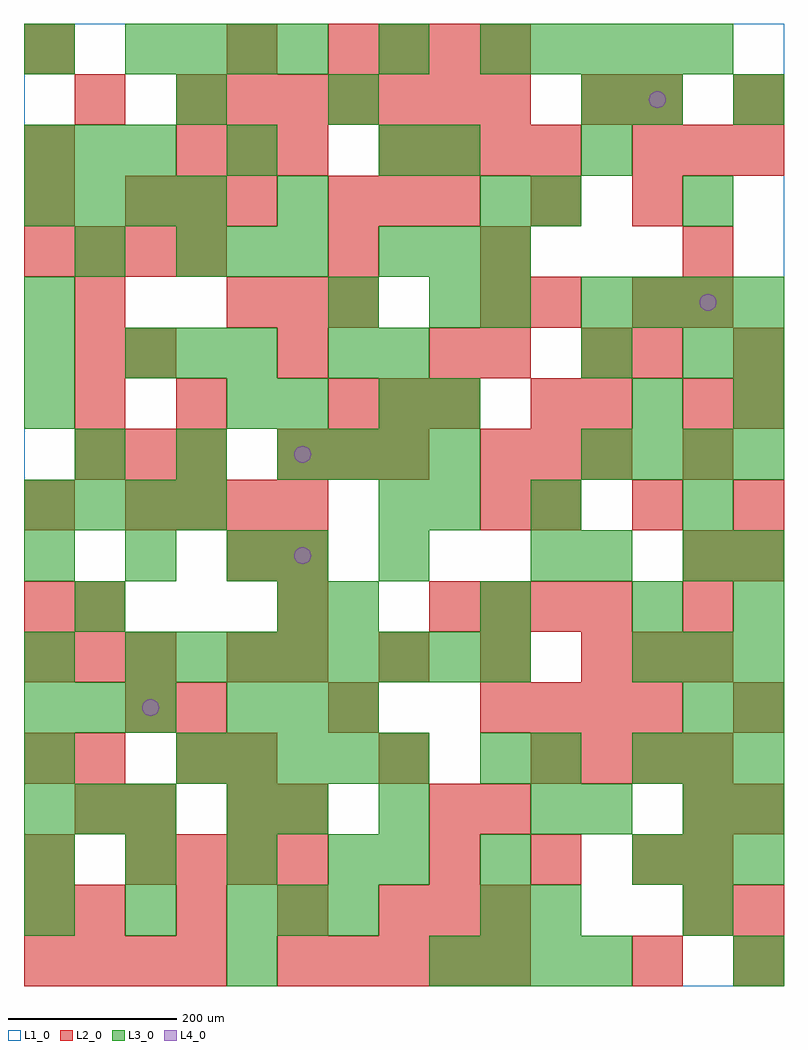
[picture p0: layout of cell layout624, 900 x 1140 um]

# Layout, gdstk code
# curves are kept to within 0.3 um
import gdstk
lib = gdstk.Library(unit=1e-6, precision=1e-09)
def R(c, l, rs):  # rectangles x0, y0, x1, y1
    for r in rs: c.add(gdstk.rectangle(r[:2], r[2:], *l))
def A(c, l, x, y, w, h, nx, ny, dx, dy):  # array of equal rectangles
    R(c, l, [(x+i*dx, y+j*dy, x+i*dx+w, y+j*dy+h) for i in range(nx) for j in range(ny)])
def P(c, l, *ps):  # polygons
    for p in ps: c.add(gdstk.Polygon(p, *l))
L1_0 = (1, 0)
L2_0 = (2, 0)
L3_0 = (3, 0)
L4_0 = (4, 0)

layout624 = lib.new_cell('layout624')
R(layout624, L1_0, [(0,0,900,1140)])
A(layout624, L2_0, 0, 0, 60, 60, 4, 2, 60, 840)
A(layout624, L2_0, 300, 0, 60, 60, 5, 1, 60, 0)
A(layout624, L2_0, 720, 0, 60, 60, 1, 3, 0, 360)
A(layout624, L2_0, 60, 60, 60, 60, 4, 1, 120, 0)
A(layout624, L2_0, 780, 60, 60, 60, 1, 3, 0, 60)
A(layout624, L2_0, 840, 60, 60, 60, 1, 3, 0, 120)
A(layout624, L2_0, 120, 120, 60, 60, 4, 2, 60, 420)
A(layout624, L2_0, 480, 120, 60, 60, 3, 1, 120, 0)
A(layout624, L2_0, 240, 240, 60, 60, 3, 1, 180, 0)
A(layout624, L2_0, 660, 240, 60, 60, 3, 1, 60, 0)
A(layout624, L2_0, 180, 300, 60, 60, 3, 1, 180, 0)
A(layout624, L2_0, 600, 300, 60, 60, 3, 1, 60, 0)
A(layout624, L2_0, 0, 360, 60, 60, 3, 1, 60, 0)
A(layout624, L2_0, 300, 360, 60, 60, 4, 1, 120, 0)
A(layout624, L2_0, 780, 360, 60, 60, 1, 3, 0, 60)
A(layout624, L2_0, 480, 420, 60, 60, 4, 1, 60, 0)
A(layout624, L2_0, 600, 540, 60, 60, 3, 1, 120, 0)
A(layout624, L2_0, 60, 600, 60, 60, 3, 1, 60, 0)
A(layout624, L2_0, 300, 600, 60, 60, 3, 1, 60, 0)
A(layout624, L2_0, 540, 600, 60, 60, 3, 1, 60, 0)
A(layout624, L2_0, 60, 660, 60, 60, 1, 3, 0, 60)
A(layout624, L2_0, 360, 660, 60, 60, 3, 2, 60, 240)
A(layout624, L2_0, 600, 660, 60, 60, 1, 3, 0, 120)
A(layout624, L2_0, 120, 720, 60, 60, 3, 1, 180, 0)
A(layout624, L2_0, 540, 720, 60, 60, 1, 3, 0, 60)
A(layout624, L2_0, 240, 780, 60, 60, 3, 1, 60, 0)
A(layout624, L2_0, 720, 780, 60, 60, 1, 3, 0, 120)
A(layout624, L2_0, 120, 900, 60, 60, 3, 1, 60, 0)
A(layout624, L2_0, 180, 960, 60, 60, 3, 1, 60, 0)
A(layout624, L2_0, 420, 960, 60, 60, 4, 1, 60, 0)
A(layout624, L2_0, 720, 960, 60, 60, 3, 1, 60, 0)
A(layout624, L2_0, 180, 1020, 60, 60, 7, 1, 60, 0)
A(layout624, L2_0, 360, 1080, 60, 60, 4, 1, 60, 0)
R(layout624, L2_0, [(840,0,900,60), (0,60,60,120), (480,60,540,120), (540,60,600,120), (0,120,60,180), (60,180,120,240), (120,180,180,240), (240,180,300,240), (300,180,360,240), (480,180,540,240), (540,180,600,240), (0,240,60,300), (60,240,120,300), (180,240,240,300), (120,300,180,360), (240,360,300,420), (0,420,60,480), (60,420,120,480), (300,420,360,480), (240,480,300,540), (300,480,360,540), (840,480,900,540), (0,540,60,600), (540,540,600,600), (780,600,840,660), (180,660,240,720), (660,660,720,720), (780,660,840,720), (840,660,900,720), (660,720,720,780), (840,720,900,780), (780,780,840,840), (360,840,420,900), (780,840,840,900), (0,900,60,960), (0,960,60,1020), (60,1020,120,1080), (660,1020,720,1080), (840,1020,900,1080), (0,1080,60,1140), (240,1080,300,1140)])
A(layout624, L3_0, 480, 0, 60, 60, 4, 1, 60, 0)
A(layout624, L3_0, 0, 60, 60, 60, 3, 2, 120, 420)
A(layout624, L3_0, 780, 60, 60, 60, 1, 3, 0, 120)
A(layout624, L3_0, 0, 120, 60, 60, 4, 1, 120, 0)
A(layout624, L3_0, 720, 120, 60, 60, 3, 3, 60, 120)
A(layout624, L3_0, 0, 180, 60, 60, 3, 2, 60, 120)
A(layout624, L3_0, 840, 180, 60, 60, 1, 3, 0, 120)
A(layout624, L3_0, 180, 240, 60, 60, 5, 1, 60, 0)
A(layout624, L3_0, 240, 300, 60, 60, 3, 1, 60, 0)
A(layout624, L3_0, 120, 360, 60, 60, 8, 1, 60, 0)
A(layout624, L3_0, 360, 420, 60, 60, 3, 1, 180, 0)
A(layout624, L3_0, 660, 480, 60, 60, 1, 3, 0, 240)
A(layout624, L3_0, 0, 540, 60, 60, 4, 2, 60, 360)
A(layout624, L3_0, 480, 540, 60, 60, 1, 3, 0, 120)
A(layout624, L3_0, 780, 540, 60, 60, 1, 3, 0, 180)
A(layout624, L3_0, 60, 600, 60, 60, 3, 1, 120, 0)
A(layout624, L3_0, 360, 600, 60, 60, 3, 1, 60, 0)
A(layout624, L3_0, 660, 600, 60, 60, 4, 2, 60, 180)
A(layout624, L3_0, 0, 660, 60, 60, 1, 3, 0, 60)
A(layout624, L3_0, 120, 720, 60, 60, 3, 1, 60, 0)
A(layout624, L3_0, 180, 840, 60, 60, 3, 1, 60, 0)
A(layout624, L3_0, 420, 840, 60, 60, 3, 1, 60, 0)
A(layout624, L3_0, 0, 960, 60, 60, 3, 1, 60, 0)
A(layout624, L3_0, 120, 1080, 60, 60, 4, 1, 60, 0)
A(layout624, L3_0, 540, 1080, 60, 60, 5, 1, 60, 0)
R(layout624, L3_0, [(240,0,300,60), (840,0,900,60), (300,60,360,120), (360,60,420,120), (540,60,600,120), (600,60,660,120), (420,120,480,180), (540,120,600,180), (240,180,300,240), (300,180,360,240), (420,180,480,240), (600,180,660,240), (660,180,720,240), (0,240,60,300), (540,240,600,300), (600,240,660,300), (0,360,60,420), (60,420,120,480), (300,420,360,480), (300,480,360,540), (420,480,480,540), (600,480,660,540), (780,480,840,540), (840,480,900,540), (420,540,480,600), (600,540,660,600), (240,660,300,720), (300,660,360,720), (420,660,480,720), (720,660,780,720), (840,660,900,720), (360,720,420,780), (420,720,480,780), (840,720,900,780), (360,780,420,840), (540,780,600,840), (60,840,120,900), (300,900,360,960), (540,900,600,960), (600,900,660,960), (240,960,300,1020), (420,960,480,1020), (480,960,540,1020), (180,1020,240,1080), (360,1020,420,1080), (660,1020,720,1080), (720,1020,780,1080), (840,1020,900,1080), (0,1080,60,1140), (420,1080,480,1140)])
P(layout624, L4_0, [(160,330),(159.239,333.827),(157.071,337.071),(153.827,339.239),(150,340),(146.173,339.239),(142.929,337.071),(140.761,333.827),(140,330),(140.761,326.173),(142.929,322.929),(146.173,320.761),(150,320),(153.827,320.761),(157.071,322.929),(159.239,326.173)],
  [(340,510),(339.239,513.827),(337.071,517.071),(333.827,519.239),(330,520),(326.173,519.239),(322.929,517.071),(320.761,513.827),(320,510),(320.761,506.173),(322.929,502.929),(326.173,500.761),(330,500),(333.827,500.761),(337.071,502.929),(339.239,506.173)],
  [(340,630),(339.239,633.827),(337.071,637.071),(333.827,639.239),(330,640),(326.173,639.239),(322.929,637.071),(320.761,633.827),(320,630),(320.761,626.173),(322.929,622.929),(326.173,620.761),(330,620),(333.827,620.761),(337.071,622.929),(339.239,626.173)],
  [(760,1050),(759.239,1053.827),(757.071,1057.071),(753.827,1059.239),(750,1060),(746.173,1059.239),(742.929,1057.071),(740.761,1053.827),(740,1050),(740.761,1046.173),(742.929,1042.929),(746.173,1040.761),(750,1040),(753.827,1040.761),(757.071,1042.929),(759.239,1046.173)],
  [(820,810),(819.239,813.827),(817.071,817.071),(813.827,819.239),(810,820),(806.173,819.239),(802.929,817.071),(800.761,813.827),(800,810),(800.761,806.173),(802.929,802.929),(806.173,800.761),(810,800),(813.827,800.761),(817.071,802.929),(819.239,806.173)])

lib.write_gds('layout624.gds')
